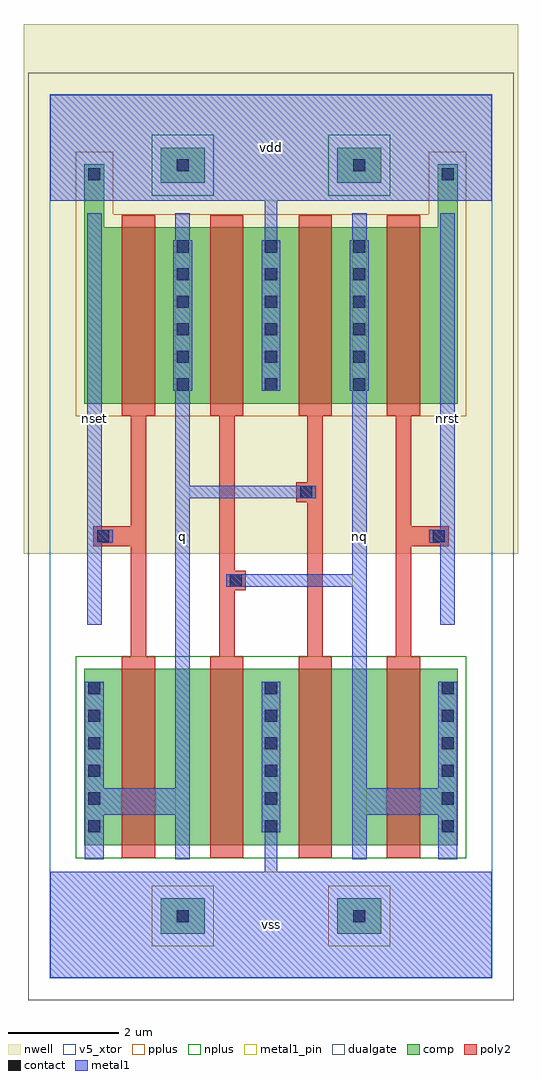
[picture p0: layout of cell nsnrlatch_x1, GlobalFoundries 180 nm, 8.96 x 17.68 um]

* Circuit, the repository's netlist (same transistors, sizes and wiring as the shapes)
* nsnrlatch_x1
.subckt nsnrlatch_x1 vss nq q vdd nrst nset
Mn_nq_1 _net1 nq vss vss nfet_06v0 l=0.6um w=3.2um
Mp_nq_1 q nq vdd vdd pfet_06v0 l=0.6um w=3.2um
Mp_nrst_1 nq nrst vdd vdd pfet_06v0 l=0.6um w=3.2um
Mn_nrst_1 _net0 nrst nq vss nfet_06v0 l=0.6um w=3.2um
Mp_nset_1 vdd nset q vdd pfet_06v0 l=0.6um w=3.2um
Mn_nset_1 q nset _net1 vss nfet_06v0 l=0.6um w=3.2um
Mp_q_1 vdd q nq vdd pfet_06v0 l=0.6um w=3.2um
Mn_q_1 vss q _net0 vss nfet_06v0 l=0.6um w=3.2um
.ends nsnrlatch_x1

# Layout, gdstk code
import gdstk
lib = gdstk.Library(unit=1e-6, precision=1e-09)
def R(c, l, rs):  # rectangles x0, y0, x1, y1
    for r in rs: c.add(gdstk.rectangle(r[:2], r[2:], *l))
def A(c, l, x, y, w, h, nx, ny, dx, dy):  # array of equal rectangles
    R(c, l, [(x+i*dx, y+j*dy, x+i*dx+w, y+j*dy+h) for i in range(nx) for j in range(ny)])
def P(c, l, *ps):  # polygons
    for p in ps: c.add(gdstk.Polygon(p, *l))
nwell = (21, 0)
comp = (22, 0)
poly2 = (30, 0)
pplus = (31, 0)
nplus = (32, 0)
contact = (33, 0)
metal1 = (34, 0)
metal1_pin = (34, 10)
dualgate = (55, 0)
v5_xtor = (112, 1)

nsnrlatch_x1 = lib.new_cell('nsnrlatch_x1')
R(nsnrlatch_x1, nwell, [(-0.48,7.68,8.48,17.28)])
R(nsnrlatch_x1, comp, [(2,0.8,2.8,1.44), (5.2,0.8,6,1.44), (0.62,2.4,7.38,5.6), (2,14.4,2.8,15.04), (5.2,14.4,6,15.04)])
P(nsnrlatch_x1, comp, [(0.62,10.4),(0.62,14.74),(0.98,14.74),(0.98,13.6),(7.02,13.6),(7.02,14.74),(7.38,14.74),(7.38,10.4)])
P(nsnrlatch_x1, poly2, [(2.9,2.18),(2.9,5.82),(3.06,5.82),(3.06,10.18),(2.9,10.18),(2.9,13.82),(3.5,13.82),(3.5,10.18),(3.34,10.18),(3.34,7.38),(3.54,7.38),(3.54,7.02),(3.34,7.02),(3.34,5.82),(3.5,5.82),(3.5,2.18)],
  [(4.5,2.18),(4.5,5.82),(4.66,5.82),(4.66,8.62),(4.46,8.62),(4.46,8.98),(4.66,8.98),(4.66,10.18),(4.5,10.18),(4.5,13.82),(5.1,13.82),(5.1,10.18),(4.94,10.18),(4.94,5.82),(5.1,5.82),(5.1,2.18)],
  [(6.1,2.18),(6.1,5.82),(6.26,5.82),(6.26,10.18),(6.1,10.18),(6.1,13.82),(6.7,13.82),(6.7,10.18),(6.54,10.18),(6.54,8.18),(7.22,8.18),(7.22,7.82),(6.54,7.82),(6.54,5.82),(6.7,5.82),(6.7,2.18)],
  [(1.3,2.18),(1.3,5.82),(1.46,5.82),(1.46,7.82),(0.78,7.82),(0.78,8.18),(1.46,8.18),(1.46,10.18),(1.3,10.18),(1.3,13.82),(1.9,13.82),(1.9,10.18),(1.74,10.18),(1.74,5.82),(1.9,5.82),(1.9,2.18)])
R(nsnrlatch_x1, pplus, [(1.84,0.57,2.96,1.67), (5.04,0.57,6.16,1.67)])
P(nsnrlatch_x1, pplus, [(0.46,10.17),(0.46,14.97),(1.14,14.97),(1.14,13.83),(6.86,13.83),(6.86,14.97),(7.54,14.97),(7.54,10.17)])
R(nsnrlatch_x1, nplus, [(0.46,2.17,7.54,5.83), (1.84,14.17,2.96,15.27), (5.04,14.17,6.16,15.27)])
A(nsnrlatch_x1, contact, 0.69, 2.64, 0.22, 0.22, 3, 6, 3.2, 0.5)
A(nsnrlatch_x1, contact, 2.29, 10.64, 0.22, 0.22, 3, 6, 1.6, 0.5)
R(nsnrlatch_x1, contact, [(2.29,1.01,2.51,1.23), (5.49,1.01,5.71,1.23), (3.25,7.09,3.47,7.31), (0.85,7.89,1.07,8.11), (6.93,7.89,7.15,8.11), (4.53,8.69,4.75,8.91), (0.69,14.45,0.91,14.67), (7.09,14.45,7.31,14.67), (2.29,14.61,2.51,14.83), (5.49,14.61,5.71,14.83)])
P(nsnrlatch_x1, metal1, [(0,0),(0,1.92),(3.885,1.92),(3.885,2.635),(3.83,2.635),(3.83,5.365),(4.17,5.365),(4.17,2.635),(4.115,2.635),(4.115,1.92),(8,1.92),(8,0)],
  [(5.47,2.15),(5.47,7.085),(3.19,7.085),(3.19,7.315),(5.47,7.315),(5.47,10.635),(5.43,10.635),(5.43,13.365),(5.47,13.365),(5.47,13.85),(5.73,13.85),(5.73,13.365),(5.77,13.365),(5.77,10.635),(5.73,10.635),(5.73,3.44),(7.03,3.44),(7.03,5.365),(7.37,5.365),(7.37,2.15),(7.03,2.15),(7.03,2.96),(5.73,2.96),(5.73,2.15)],
  [(0.63,2.15),(0.63,5.365),(0.97,5.365),(0.97,3.44),(2.27,3.44),(2.27,10.635),(2.23,10.635),(2.23,13.365),(2.27,13.365),(2.27,13.85),(2.53,13.85),(2.53,13.365),(2.57,13.365),(2.57,10.635),(2.53,10.635),(2.53,8.915),(4.81,8.915),(4.81,8.685),(2.53,8.685),(2.53,2.15),(2.27,2.15),(2.27,2.96),(0.97,2.96),(0.97,2.15)],
  [(3.83,10.635),(3.83,13.365),(3.885,13.365),(3.885,14.08),(0,14.08),(0,16),(8,16),(8,14.08),(4.115,14.08),(4.115,13.365),(4.17,13.365),(4.17,10.635)],
  [(7.07,6.4),(7.07,7.885),(6.87,7.885),(6.87,8.115),(7.07,8.115),(7.07,13.85),(7.33,13.85),(7.33,6.4)],
  [(0.67,6.4),(0.67,13.85),(0.93,13.85),(0.93,8.115),(1.13,8.115),(1.13,7.885),(0.93,7.885),(0.93,6.4)])
R(nsnrlatch_x1, metal1_pin, [(0,0,8,1.92), (2.27,2.15,2.53,13.85), (5.47,2.15,5.73,13.85), (0.67,6.4,0.93,13.85), (7.07,6.4,7.33,13.85), (0,14.08,8,16)])
R(nsnrlatch_x1, dualgate, [(-0.4,-0.4,8.4,16.4)])
R(nsnrlatch_x1, v5_xtor, [(-0.005,-0.005,8.005,16.005)])
nsnrlatch_x1.add(gdstk.Label('vss', (4,0.96), layer=34, texttype=10))
nsnrlatch_x1.add(gdstk.Label('nq', (5.6,8), layer=34, texttype=10))
nsnrlatch_x1.add(gdstk.Label('q', (2.4,8), layer=34, texttype=10))
nsnrlatch_x1.add(gdstk.Label('vdd', (4,15.04), layer=34, texttype=10))
nsnrlatch_x1.add(gdstk.Label('nrst', (7.2,10.125), layer=34, texttype=10))
nsnrlatch_x1.add(gdstk.Label('nset', (0.8,10.125), layer=34, texttype=10))

lib.write_gds('nsnrlatch_x1.gds')
